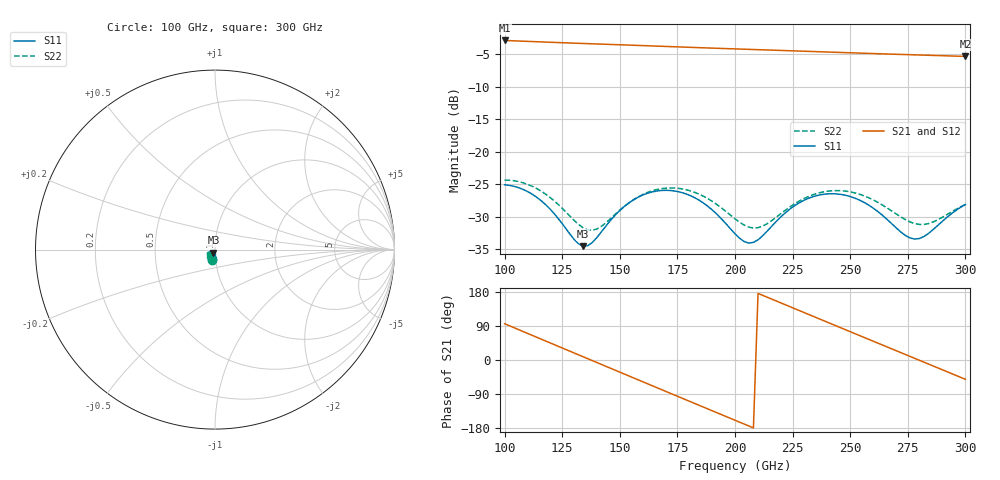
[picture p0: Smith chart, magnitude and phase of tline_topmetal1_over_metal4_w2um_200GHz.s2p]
#  GHZ S DB R 50
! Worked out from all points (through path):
!   101 points, 100 GHz to 300 GHz, reference 50 ohm
!   highest |S21| = -2.85 dB at 100 GHz (marker M1); lowest = -5.3 dB at 300 GHz (marker M2)
!   group delay of S21, straight-line fit = 7.03 ps
!   lowest |S11| = -34.6 dB at 134 GHz (marker M3), VSWR 1.04, Z = 49.1 - j1.63 ohm
!   |S11| at or under -10 dB: start of sweep to end of sweep
!   |S22| runs from -32.1 to -24.4 dB; largest |S21 - S12| = 1.2e-13
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100  -25.09 -105.4  -2.85 95.7  -2.85 95.7  -24.38 -104.5
108  -25.80 -121.2  -2.96 75.2  -2.96 75.2  -24.78 -119.6
116  -27.58 -134.4  -3.08 54.7  -3.08 54.7  -26.10 -132.5
126  -31.56 -139.4  -3.21 29.2  -3.21 29.2  -29.07 -140.2
134  -34.55 -117.8  -3.31 8.8  -3.31 8.8  -31.70 -130.4
140  -33.24 -95.9  -3.39 -6.5  -3.39 -6.5  -31.91 -114.0
150  -29.05 -91.4  -3.51 -32.0  -3.51 -32.0  -29.00 -102.1
160  -26.66 -104.5  -3.64 -57.5  -3.64 -57.5  -26.58 -110.0
168  -25.97 -118.2  -3.75 -77.9  -3.75 -77.9  -25.69 -121.1
182  -26.99 -141.5  -3.93 -113.4  -3.93 -113.4  -26.19 -141.5
192  -29.58 -151.9  -4.05 -138.7  -4.05 -138.7  -28.10 -151.2
200  -32.64 -147.5  -4.15 -159.0  -4.15 -159.0  -30.33 -149.9
208  -33.97 -123.4  -4.25 -179.2  -4.25 -179.2  -31.76 -135.7
216  -31.45 -106.8  -4.34 160.6  -4.34 160.6  -30.60 -120.5
234  -26.91 -120.2  -4.56 115.1  -4.56 115.1  -26.61 -125.9
242  -26.47 -132.1  -4.65 94.9  -4.65 94.9  -26.01 -135.6
250  -26.90 -143.9  -4.75 74.8  -4.75 74.8  -26.18 -145.7
268  -31.08 -156.1  -4.96 29.5  -4.96 29.5  -29.12 -158.3
274  -32.91 -147.4  -5.02 14.4  -5.02 14.4  -30.47 -154.3
280  -33.38 -131.0  -5.09 -0.7  -5.09 -0.7  -31.20 -145.1
290  -30.72 -114.8  -5.20 -25.8  -5.20 -25.8  -30.10 -130.8
300  -28.13 -118.6  -5.31 -50.9  -5.31 -50.9  -28.12 -130.2
